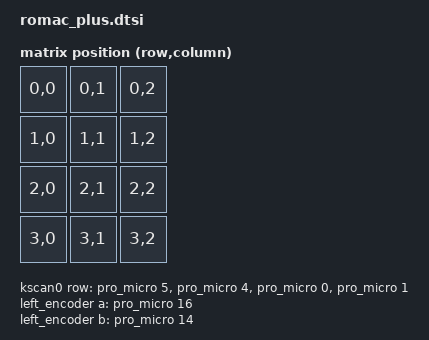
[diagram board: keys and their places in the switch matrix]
/*
 * Copyright (c) 2020 The ZMK Contributors
 *
 * SPDX-License-Identifier: MIT
 */

#include <dt-bindings/zmk/matrix_transform.h>

/ {
    chosen {
        zmk,kscan = &kscan0;
        zmk,matrix_transform = &default_transform;
    };

    default_transform: keymap_transform_0 {
        compatible = "zmk,matrix-transform";
        columns = <3>;
        rows = <4>;

        map = <
RC(0,0) RC(0,1) RC(0,2)
RC(1,0) RC(1,1) RC(1,2)
RC(2,0) RC(2,1) RC(2,2)
RC(3,0) RC(3,1) RC(3,2)
        >;
    };

    kscan0: kscan {
        compatible = "zmk,kscan-gpio-matrix";
        label = "KSCAN";

        diode-direction = "col2row";
        row-gpios
            = <&pro_micro 5 (GPIO_ACTIVE_HIGH | GPIO_PULL_DOWN)>
            , <&pro_micro 4 (GPIO_ACTIVE_HIGH | GPIO_PULL_DOWN)>
            , <&pro_micro 0 (GPIO_ACTIVE_HIGH | GPIO_PULL_DOWN)>
            , <&pro_micro 1 (GPIO_ACTIVE_HIGH | GPIO_PULL_DOWN)>
            ;
    };

    left_encoder: encoder_left {
        compatible = "alps,ec11";
        label = "LEFT_ENCODER";
        a-gpios = <&pro_micro 16 (GPIO_ACTIVE_HIGH | GPIO_PULL_UP)>;
        b-gpios = <&pro_micro 14 (GPIO_ACTIVE_HIGH | GPIO_PULL_UP)>;
        steps = <80>;
        status = "disabled";
    };

    sensors: sensors {
        compatible = "zmk,keymap-sensors";
        sensors = <&left_encoder>;
        triggers-per-rotation = <20>;
    };

    // TODO: per-key RGB node(s)?
};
